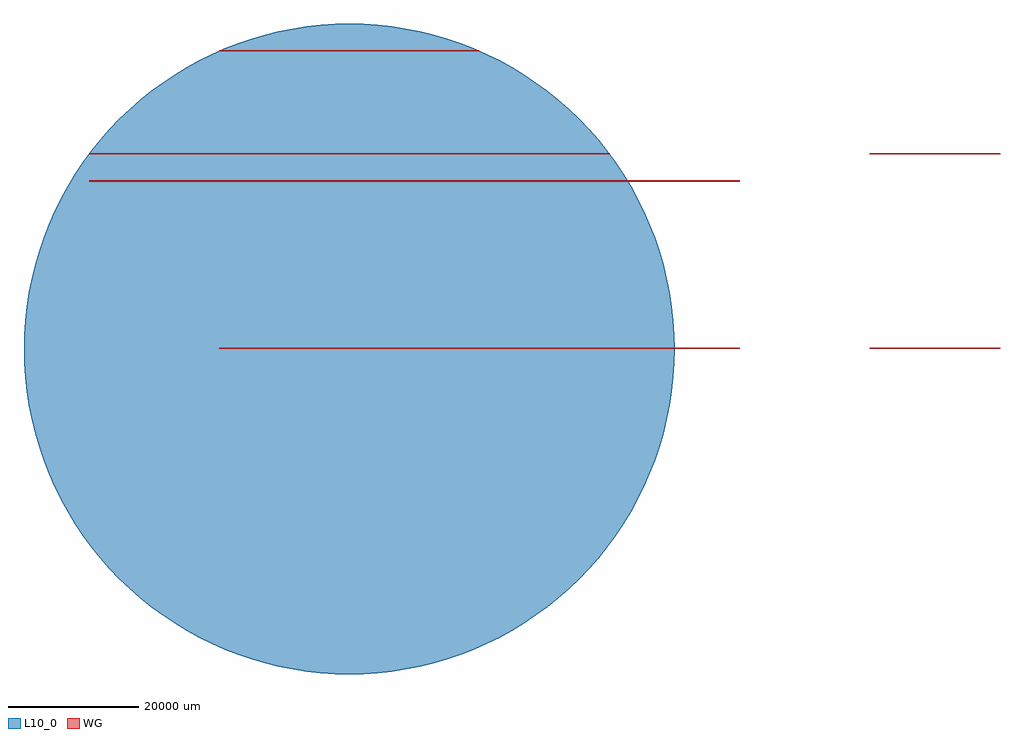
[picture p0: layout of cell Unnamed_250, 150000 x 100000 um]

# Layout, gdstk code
import gdstk
lib = gdstk.Library(unit=1e-6, precision=1e-09)
def R(c, l, rs):  # rectangles x0, y0, x1, y1
    for r in rs: c.add(gdstk.rectangle(r[:2], r[2:], *l))
def P(c, l, *ps):  # polygons
    for p in ps: c.add(gdstk.Polygon(p, *l))
WG = (1, 0)
L10_0 = (10, 0)

rectangle_s20000_200_l1_ = lib.new_cell('rectangle_S20000_200_L1_410b437e')
R(rectangle_s20000_200_l1_, WG, [(0,0,20000,200)])

circle_r50000_ar2p5_l10_ = lib.new_cell('circle_R50000_AR2p5_L10_0')
P(circle_r50000_ar2p5_l10_, L10_0, [(0,-50000),(-2180.969,-49952.411),(-4357.787,-49809.735),(-6526.31,-49572.243),(-8682.409,-49240.388),(-10821.981,-48814.8),(-12940.952,-48296.291),(-15035.29,-47685.848),(-17101.007,-46984.631),(-19134.172,-46193.977),(-21130.913,-45315.389),(-23087.431,-44350.542),(-25000,-43301.27),(-26864.98,-42169.572),(-28678.822,-40957.602),(-30438.071,-39667.667),(-32139.38,-38302.222),(-33779.51,-36863.867),(-35355.339,-35355.339),(-36863.867,-33779.51),(-38302.222,-32139.38),(-39667.667,-30438.071),(-40957.602,-28678.822),(-42169.572,-26864.98),(-43301.27,-25000),(-44350.542,-23087.431),(-45315.389,-21130.913),(-46193.977,-19134.172),(-46984.631,-17101.007),(-47685.848,-15035.29),(-48296.291,-12940.952),(-48814.8,-10821.981),(-49240.388,-8682.409),(-49572.243,-6526.31),(-49809.735,-4357.787),(-49952.411,-2180.969),(-50000,0),(-49952.411,2180.969),(-49809.735,4357.787),(-49572.243,6526.31),(-49240.388,8682.409),(-48814.8,10821.981),(-48296.291,12940.952),(-47685.848,15035.29),(-46984.631,17101.007),(-46193.977,19134.172),(-45315.389,21130.913),(-44350.542,23087.431),(-43301.27,25000),(-42169.572,26864.98),(-40957.602,28678.822),(-39667.667,30438.071),(-38302.222,32139.38),(-36863.867,33779.51),(-35355.339,35355.339),(-33779.51,36863.867),(-32139.38,38302.222),(-30438.071,39667.667),(-28678.822,40957.602),(-26864.98,42169.572),(-25000,43301.27),(-23087.431,44350.542),(-21130.913,45315.389),(-19134.172,46193.977),(-17101.007,46984.631),(-15035.29,47685.848),(-12940.952,48296.291),(-10821.981,48814.8),(-8682.409,49240.388),(-6526.31,49572.243),(-4357.787,49809.735),(-2180.969,49952.411),(0,50000),(2180.969,49952.411),(4357.787,49809.735),(6526.31,49572.243),(8682.409,49240.388),(10821.981,48814.8),(12940.952,48296.291),(15035.29,47685.848),(17101.007,46984.631),(19134.172,46193.977),(21130.913,45315.389),(23087.431,44350.542),(25000,43301.27),(26864.98,42169.572),(28678.822,40957.602),(30438.071,39667.667),(32139.38,38302.222),(33779.51,36863.867),(35355.339,35355.339),(36863.867,33779.51),(38302.222,32139.38),(39667.667,30438.071),(40957.602,28678.822),(42169.572,26864.98),(43301.27,25000),(44350.542,23087.431),(45315.389,21130.913),(46193.977,19134.172),(46984.631,17101.007),(47685.848,15035.29),(48296.291,12940.952),(48814.8,10821.981),(49240.388,8682.409),(49572.243,6526.31),(49809.735,4357.787),(49952.411,2180.969),(50000,0),(49952.411,-2180.969),(49809.735,-4357.787),(49572.243,-6526.31),(49240.388,-8682.409),(48814.8,-10821.981),(48296.291,-12940.952),(47685.848,-15035.29),(46984.631,-17101.007),(46193.977,-19134.172),(45315.389,-21130.913),(44350.542,-23087.431),(43301.27,-25000),(42169.572,-26864.98),(40957.602,-28678.822),(39667.667,-30438.071),(38302.222,-32139.38),(36863.867,-33779.51),(35355.339,-35355.339),(33779.51,-36863.867),(32139.38,-38302.222),(30438.071,-39667.667),(28678.822,-40957.602),(26864.98,-42169.572),(25000,-43301.27),(23087.431,-44350.542),(21130.913,-45315.389),(19134.172,-46193.977),(17101.007,-46984.631),(15035.29,-47685.848),(12940.952,-48296.291),(10821.981,-48814.8),(8682.409,-49240.388),(6526.31,-49572.243),(4357.787,-49809.735),(2180.969,-49952.411)])

unnamed_250 = lib.new_cell('Unnamed_250')
unnamed_250.add(gdstk.Reference(rectangle_s20000_200_l1_, (-20000,0)))
unnamed_250.add(gdstk.Reference(rectangle_s20000_200_l1_, (-20000,0)))
unnamed_250.add(gdstk.Reference(rectangle_s20000_200_l1_, (-20000,0)))
unnamed_250.add(gdstk.Reference(rectangle_s20000_200_l1_, (-20000,0)))
unnamed_250.add(gdstk.Reference(rectangle_s20000_200_l1_, (-20000,0)))
unnamed_250.add(gdstk.Reference(rectangle_s20000_200_l1_, (-20000,0)))
unnamed_250.add(gdstk.Reference(rectangle_s20000_200_l1_, (0,0)))
unnamed_250.add(gdstk.Reference(rectangle_s20000_200_l1_, (0,0)))
unnamed_250.add(gdstk.Reference(rectangle_s20000_200_l1_, (0,0)))
unnamed_250.add(gdstk.Reference(rectangle_s20000_200_l1_, (0,0)))
unnamed_250.add(gdstk.Reference(rectangle_s20000_200_l1_, (20000,0)))
unnamed_250.add(gdstk.Reference(rectangle_s20000_200_l1_, (20000,0)))
unnamed_250.add(gdstk.Reference(rectangle_s20000_200_l1_, (20000,0)))
unnamed_250.add(gdstk.Reference(rectangle_s20000_200_l1_, (20000,0)))
unnamed_250.add(gdstk.Reference(rectangle_s20000_200_l1_, (40000,0)))
unnamed_250.add(gdstk.Reference(rectangle_s20000_200_l1_, (40000,0)))
unnamed_250.add(gdstk.Reference(rectangle_s20000_200_l1_, (40000,0)))
unnamed_250.add(gdstk.Reference(rectangle_s20000_200_l1_, (40000,0)))
unnamed_250.add(gdstk.Reference(rectangle_s20000_200_l1_, (80000,0)))
unnamed_250.add(gdstk.Reference(rectangle_s20000_200_l1_, (80000,0)))
unnamed_250.add(gdstk.Reference(rectangle_s20000_200_l1_, (-40000,25730)))
unnamed_250.add(gdstk.Reference(rectangle_s20000_200_l1_, (-40000,25730)))
unnamed_250.add(gdstk.Reference(rectangle_s20000_200_l1_, (-40000,25730)))
unnamed_250.add(gdstk.Reference(rectangle_s20000_200_l1_, (-20000,25730)))
unnamed_250.add(gdstk.Reference(rectangle_s20000_200_l1_, (-20000,25730)))
unnamed_250.add(gdstk.Reference(rectangle_s20000_200_l1_, (-20000,25730)))
unnamed_250.add(gdstk.Reference(rectangle_s20000_200_l1_, (0,25730)))
unnamed_250.add(gdstk.Reference(rectangle_s20000_200_l1_, (0,25730)))
unnamed_250.add(gdstk.Reference(rectangle_s20000_200_l1_, (0,25730)))
unnamed_250.add(gdstk.Reference(rectangle_s20000_200_l1_, (0,25730)))
unnamed_250.add(gdstk.Reference(rectangle_s20000_200_l1_, (0,25730)))
unnamed_250.add(gdstk.Reference(rectangle_s20000_200_l1_, (0,25730)))
unnamed_250.add(gdstk.Reference(rectangle_s20000_200_l1_, (0,25730)))
unnamed_250.add(gdstk.Reference(rectangle_s20000_200_l1_, (0,25730)))
unnamed_250.add(gdstk.Reference(rectangle_s20000_200_l1_, (0,25730)))
unnamed_250.add(gdstk.Reference(rectangle_s20000_200_l1_, (0,25730)))
unnamed_250.add(gdstk.Reference(rectangle_s20000_200_l1_, (0,25730)))
unnamed_250.add(gdstk.Reference(rectangle_s20000_200_l1_, (0,25730)))
unnamed_250.add(gdstk.Reference(rectangle_s20000_200_l1_, (0,25730)))
unnamed_250.add(gdstk.Reference(rectangle_s20000_200_l1_, (0,25730)))
unnamed_250.add(gdstk.Reference(rectangle_s20000_200_l1_, (0,25730)))
unnamed_250.add(gdstk.Reference(rectangle_s20000_200_l1_, (0,25730)))
unnamed_250.add(gdstk.Reference(rectangle_s20000_200_l1_, (0,25730)))
unnamed_250.add(gdstk.Reference(rectangle_s20000_200_l1_, (0,25730)))
unnamed_250.add(gdstk.Reference(rectangle_s20000_200_l1_, (0,25730)))
unnamed_250.add(gdstk.Reference(rectangle_s20000_200_l1_, (20000,25730)))
unnamed_250.add(gdstk.Reference(rectangle_s20000_200_l1_, (20000,25730)))
unnamed_250.add(gdstk.Reference(rectangle_s20000_200_l1_, (20000,25730)))
unnamed_250.add(gdstk.Reference(rectangle_s20000_200_l1_, (20000,25730)))
unnamed_250.add(gdstk.Reference(rectangle_s20000_200_l1_, (20000,25730)))
unnamed_250.add(gdstk.Reference(rectangle_s20000_200_l1_, (20000,25730)))
unnamed_250.add(gdstk.Reference(rectangle_s20000_200_l1_, (20000,25730)))
unnamed_250.add(gdstk.Reference(rectangle_s20000_200_l1_, (40000,25730)))
unnamed_250.add(gdstk.Reference(rectangle_s20000_200_l1_, (40000,25730)))
unnamed_250.add(gdstk.Reference(rectangle_s20000_200_l1_, (40000,25730)))
unnamed_250.add(gdstk.Reference(rectangle_s20000_200_l1_, (40000,25730)))
unnamed_250.add(gdstk.Reference(rectangle_s20000_200_l1_, (-40000,29900)))
unnamed_250.add(gdstk.Reference(rectangle_s20000_200_l1_, (-20000,29900)))
unnamed_250.add(gdstk.Reference(rectangle_s20000_200_l1_, (-20000,29900)))
unnamed_250.add(gdstk.Reference(rectangle_s20000_200_l1_, (-20000,29900)))
unnamed_250.add(gdstk.Reference(rectangle_s20000_200_l1_, (-20000,29900)))
unnamed_250.add(gdstk.Reference(rectangle_s20000_200_l1_, (-20000,29900)))
unnamed_250.add(gdstk.Reference(rectangle_s20000_200_l1_, (-20000,29900)))
unnamed_250.add(gdstk.Reference(rectangle_s20000_200_l1_, (0,29900)))
unnamed_250.add(gdstk.Reference(rectangle_s20000_200_l1_, (0,29900)))
unnamed_250.add(gdstk.Reference(rectangle_s20000_200_l1_, (0,29900)))
unnamed_250.add(gdstk.Reference(rectangle_s20000_200_l1_, (0,29900)))
unnamed_250.add(gdstk.Reference(rectangle_s20000_200_l1_, (0,29900)))
unnamed_250.add(gdstk.Reference(rectangle_s20000_200_l1_, (0,29900)))
unnamed_250.add(gdstk.Reference(rectangle_s20000_200_l1_, (0,29900)))
unnamed_250.add(gdstk.Reference(rectangle_s20000_200_l1_, (0,29900)))
unnamed_250.add(gdstk.Reference(rectangle_s20000_200_l1_, (20000,29900)))
unnamed_250.add(gdstk.Reference(rectangle_s20000_200_l1_, (80000,29900)))
unnamed_250.add(gdstk.Reference(rectangle_s20000_200_l1_, (80000,29900)))
unnamed_250.add(gdstk.Reference(rectangle_s20000_200_l1_, (-20000,45730)))
unnamed_250.add(gdstk.Reference(rectangle_s20000_200_l1_, (-20000,45730)))
unnamed_250.add(gdstk.Reference(rectangle_s20000_200_l1_, (-20000,45730)))
unnamed_250.add(gdstk.Reference(rectangle_s20000_200_l1_, (0,45730)))
unnamed_250.add(gdstk.Reference(rectangle_s20000_200_l1_, (0,45730)))
unnamed_250.add(gdstk.Reference(rectangle_s20000_200_l1_, (0,45730)))
unnamed_250.add(gdstk.Reference(circle_r50000_ar2p5_l10_, (0,0)))
unnamed_250.add(gdstk.Reference(circle_r50000_ar2p5_l10_, (0,0)))
unnamed_250.add(gdstk.Reference(circle_r50000_ar2p5_l10_, (0,0)))

lib.write_gds('Unnamed_250.gds')
